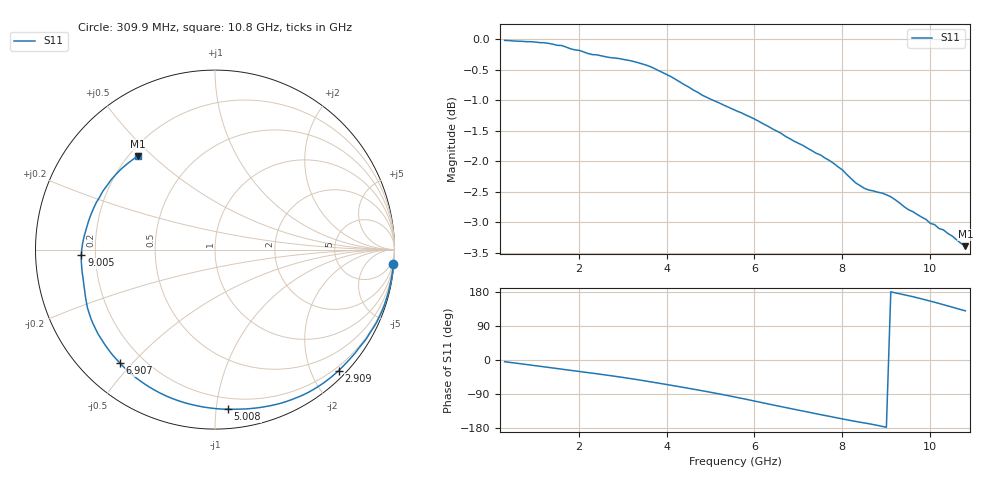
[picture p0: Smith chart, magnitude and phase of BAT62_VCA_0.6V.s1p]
! Infineon Technologies  Discrete & RF Semiconductors
! BAT62
! VCA = 0.6 V
! One-Port S-Parameters
# Hz  S  MA  R  50
!f  S11
!Hz  Mag  Ang
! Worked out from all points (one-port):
!   106 points, 309.9 MHz to 10.8 GHz, reference 50 ohm
!   lowest |S11| = -3.4 dB at 10.8 GHz (marker M1), VSWR 5.18, Z = 11.7 + j22.4 ohm
!   |S11| at or under -10 dB: nowhere
!   S11 on the Smith chart (normalised r, x): 309.9 MHz: 1, -25; 2.909 GHz: 0.13, -2.44; 5.008 GHz: 0.12, -1.08; 6.907 GHz: 0.12, -0.46; 9.005 GHz: 0.15, -0.02; 10.8 GHz: 0.23, +0.45
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3.0985e8  0.9973 -4.5
1.0095e9  0.9943 -15.0
1.70915e9  0.9851 -25.7
2.4088e9  0.9707 -36.3
2.90855e9  0.964 -44.4
3.0085e9  0.9624 -46.1
3.4083e9  0.955 -53.3
3.70815e9  0.9465 -59.0
4.30785e9  0.9219 -70.8
4.70765e9  0.9044 -79.0
5.0075e9  0.8925 -85.3
5.30735e9  0.8825 -92.0
5.6072e9  0.8728 -98.9
6.10695e9  0.8559 -110.9
6.50675e9  0.8406 -120.6
6.90655e9  0.8245 -130.1
7.2064e9  0.8138 -137.1
7.6062e9  0.7989 -146.4
8.006e9  0.781 -155.6
8.2059e9  0.7682 -160.0
8.70565e9  0.7508 -170.3
9.0055e9  0.7453 -177.5
9.2054e9  0.7384 177.3
9.50525e9  0.7247 169.7
9.8051e9  0.7147 161.4
1.010495e10  0.7044 152.3
1.050475e10  0.6894 139.5
1.08046e10  0.6764 129.7
